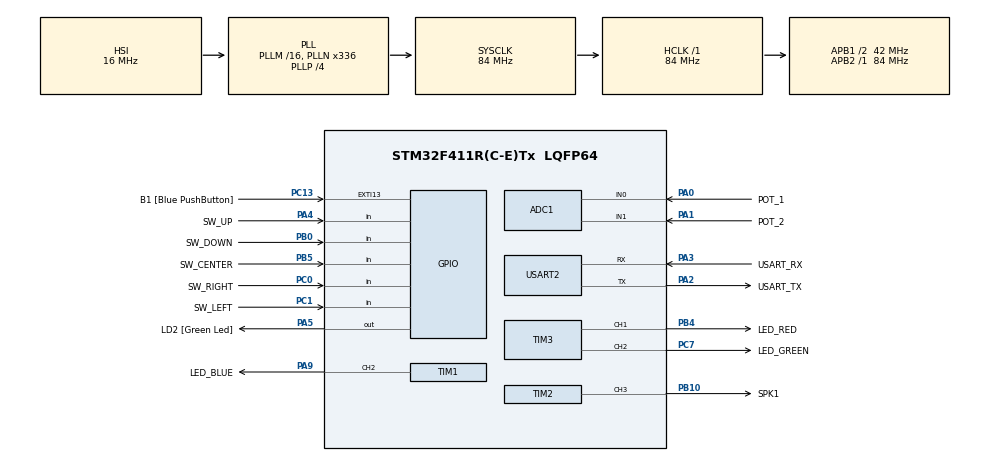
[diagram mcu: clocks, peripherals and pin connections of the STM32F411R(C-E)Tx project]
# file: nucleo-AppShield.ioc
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ADC1.Channel-0\#ChannelRegularConversion=ADC_CHANNEL_0
ADC1.NbrOfConversionFlag=1
ADC1.Rank-0\#ChannelRegularConversion=1
ADC1.SamplingTime-0\#ChannelRegularConversion=ADC_SAMPLETIME_3CYCLES
ADC1.master=1
Mcu.Family=STM32F4
Mcu.Name=STM32F411R(C-E)Tx
Mcu.Package=LQFP64
NVIC.PriorityGroup=NVIC_PRIORITYGROUP_0
PA0-WKUP.GPIO_Label=POT_1
PA0-WKUP.Signal=ADCx_IN0
PA1.GPIO_Label=POT_2
PA1.Signal=ADCx_IN1
PA13.GPIO_Label=TMS
PA13.Mode=Serial_Wire
PA13.Signal=SYS_JTMS-SWDIO
PA14.GPIO_Label=TCK
PA14.Mode=Serial_Wire
PA14.Signal=SYS_JTCK-SWCLK
PA2.GPIO_Label=USART_TX
PA2.Mode=Asynchronous
PA2.Signal=USART2_TX
PA3.GPIO_Label=USART_RX
PA3.Mode=Asynchronous
PA3.Signal=USART2_RX
PA4.GPIO_Label=SW_UP
PA4.Signal=GPIO_Input
PA5.GPIO_Label=LD2 [Green Led]
PA5.Signal=GPIO_Output
PA9.GPIO_Label=LED_BLUE
PA9.Signal=S_TIM1_CH2
PB0.GPIO_Label=SW_DOWN
PB0.Signal=GPIO_Input
PB10.GPIO_Label=SPK1
PB10.Signal=S_TIM2_CH3
PB3.GPIO_Label=SWO
PB3.Signal=SYS_JTDO-SWO
PB4.GPIO_Label=LED_RED
PB4.Signal=S_TIM3_CH1
PB5.GPIO_Label=SW_CENTER
PB5.Signal=GPIO_Input
PC0.GPIO_Label=SW_RIGHT
PC0.Signal=GPIO_Input
PC1.GPIO_Label=SW_LEFT
PC1.Signal=GPIO_Input
PC13-ANTI_TAMP.GPIO_Label=B1 [Blue PushButton]
PC13-ANTI_TAMP.GPIO_ModeDefaultEXTI=GPIO_MODE_IT_FALLING
PC13-ANTI_TAMP.Signal=GPXTI13
PC14-OSC32_IN.Mode=LSE-External-Oscillator
PC14-OSC32_IN.Signal=RCC_OSC32_IN
PC15-OSC32_OUT.Mode=LSE-External-Oscillator
PC15-OSC32_OUT.Signal=RCC_OSC32_OUT
PC7.GPIO_Label=LED_GREEN
PC7.Signal=S_TIM3_CH2
PH0\ -\ OSC_IN.Mode=HSE-External-Clock-Source
PH0\ -\ OSC_IN.Signal=RCC_OSC_IN
PH1\ -\ OSC_OUT.Mode=HSE-External-Clock-Source
PH1\ -\ OSC_OUT.Signal=RCC_OSC_OUT
ProjectManager.HeapSize=0x200
ProjectManager.StackSize=0x400
ProjectManager.TargetToolchain=STM32CubeIDE
RCC.48MHZClocksFreq_Value=84000000
RCC.AHBFreq_Value=84000000
RCC.APB1CLKDivider=RCC_HCLK_DIV2
RCC.APB1Freq_Value=42000000
RCC.APB1TimFreq_Value=84000000
RCC.APB2Freq_Value=84000000
RCC.APB2TimFreq_Value=84000000
RCC.CortexFreq_Value=84000000
RCC.FLatency-AdvancedSettings=FLASH_LATENCY_2
RCC.HCLKFreq_Value=84000000
RCC.HSE_VALUE=8000000
RCC.HSI_VALUE=16000000
RCC.PLLN=336
RCC.PLLP=RCC_PLLP_DIV4
RCC.SYSCLKFreq_VALUE=84000000
RCC.SYSCLKSource=RCC_SYSCLKSOURCE_PLLCLK
RCC.VCOOutputFreq_Value=336000000
SH.ADCx_IN0.0=ADC1_IN0,IN0
SH.ADCx_IN1.0=ADC1_IN1,IN1
SH.S_TIM1_CH2.0=TIM1_CH2,PWM Generation2 CH2
SH.S_TIM2_CH3.0=TIM2_CH3,PWM Generation3 CH3
SH.S_TIM3_CH1.0=TIM3_CH1,PWM Generation1 CH1
SH.S_TIM3_CH2.0=TIM3_CH2,PWM Generation2 CH2
TIM1.Channel-PWM\ Generation2\ CH2=TIM_CHANNEL_2
TIM2.Channel-PWM\ Generation3\ CH3=TIM_CHANNEL_3
TIM3.Channel-PWM\ Generation1\ CH1=TIM_CHANNEL_1
TIM3.Channel-PWM\ Generation2\ CH2=TIM_CHANNEL_2
USART2.VirtualMode=VM_ASYNC
board=NUCLEO-F411RE

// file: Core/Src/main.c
/* USER CODE BEGIN Header */
/**
  ******************************************************************************
  * @file           : main.c
  * @brief          : Main program body
  ******************************************************************************
  * @attention
  *
  * Copyright (c) 2025 STMicroelectronics.
  * All rights reserved.
  *
  * This software is licensed under terms that can be found in the LICENSE file
  * in the root directory of this software component.
  * If no LICENSE file comes with this software, it is provided AS-IS.
  *
  ******************************************************************************
  */
/* USER CODE END Header */
#include "main.h"
#include "adc.h"
#include "tim.h"
#include "usart.h"
#include "gpio.h"

/* USER CODE BEGIN Includes */
#include "leds.h"
#include "pot.h"
#include "sw.h"
#include "spk.h"
/* USER CODE END Includes */

/* USER CODE BEGIN PD */
#define MAIN4
#define ADC_MAX_VALUE 4095U
/* USER CODE END PD */

/* USER CODE BEGIN PV */
char buf[50];
/* USER CODE END PV */

void SystemClock_Config(void);

int main(void)
{

  /* MCU Configuration--------------------------------------------------------*/

  /* Reset of all peripherals, Initializes the Flash interface and the Systick. */
  HAL_Init();

  /* Configure the system clock */
  SystemClock_Config();

  /* Initialize all configured peripherals */
  MX_GPIO_Init();
  MX_USART2_UART_Init();
  MX_TIM1_Init();
  MX_TIM3_Init();
  MX_ADC1_Init();
  MX_TIM2_Init();
  /* USER CODE BEGIN 2 */
#ifdef MAIN1

  /* === LED MODULE FUNCTIONALITY TESTS === */

  /* Full off (0%) */
  leds (0);
  HAL_Delay (500);

  /* Low brightness (25%) */
  leds (25);
  HAL_Delay (500);

  /* Medium brightness (50%) */
  leds (50);
  HAL_Delay (500);

  /* High brightness (75%) */
  leds (75);
  HAL_Delay (500);

  /* Full on (100%) */
  leds (100);
  HAL_Delay (500);

  /* Test each color individually */
  red_led (100);
  green_led (0);
  blue_led (0);
  HAL_Delay (500);

  red_led (0);
  green_led (100);
  HAL_Delay (500);

  green_led (0);
  blue_led (100);
  HAL_Delay (500);

  /* Edge case: Negative brightness */
  leds (-20);
  HAL_Delay (500);

  /* Edge case: Brightness > 100 */
  leds (120);
  HAL_Delay (500);

  /* Interleaved transitions */
  for (int i = 0; i <= 100; i += 10)
    {
      leds (i);
      HAL_Delay (200);
    }

  for (int i = 100; i >= 0; i -= 10)
    {
      leds (i);
      HAL_Delay (200);
    }

#endif /* MAIN1 */

#ifdef MAIN2
  /* === SW  MODULE FUNCTIONALITY TESTS === */

#endif /* MAIN2 */

#ifdef MAIN3

/* === POT MODULE FUNCTIONALITY TESTS === */
  static uint32_t adc_raw_values[2] = {0};
  static uint32_t adc_scaled_value_1 = 0;
  static uint32_t adc_scaled_value_2 = 0;
#endif

#ifdef MAIN4

/* === SPK MODULE FUNCTIONALITY TESTS === */
  // Fréquences en Hz
  #define NOTE_RE 294
  #define NOTE_MI 330
  #define NOTE_FA 349
  #define NOTE_SOL 392
  #define NOTE_LA 440
  #define NOTE_SI 494
  #define NOTE_DO_H 523
  #define NOTE_PAUSE 0

  uint16_t melody[] = {
      NOTE_SOL, NOTE_SOL, NOTE_LA, NOTE_SOL, NOTE_DO_H, NOTE_SI,
      NOTE_SOL, NOTE_SOL, NOTE_LA, NOTE_SOL, NOTE_RE, NOTE_DO_H,
      NOTE_SOL, NOTE_SOL, NOTE_SOL, NOTE_DO_H, NOTE_DO_H, NOTE_SI,
      NOTE_LA, NOTE_FA, NOTE_SOL, NOTE_SOL, NOTE_LA, NOTE_SOL, NOTE_RE, NOTE_DO_H
  };

  uint16_t durations[] = {
      400, 400, 800, 800, 800, 1600,
      400, 400, 800, 800, 800, 1600,
      400, 400, 400, 800, 800, 1600,
      400, 400, 400, 400, 800, 800, 800, 1600
  };

  // Lecture de la mélodie
      for (int i = 0; i < sizeof(melody)/sizeof(melody[0]); i++) {
          if (melody[i] == NOTE_PAUSE) {
              speaker_off();
          } else {
              speaker_tone(melody[i]);
          }

          HAL_Delay(durations[i]);
          speaker_off();
          HAL_Delay(50);  // courte pause entre les notes
      }

#endif
  /* USER CODE END 2 */

  /* Infinite loop */
  /* USER CODE BEGIN WHILE */
  while (1)
  {
#ifdef MAIN2

	/* === SW  MODULE FUNCTIONALITY TESTS === */
	if (sw_up()) {
		// Rouge vif (255, 0, 0)
		leds_rgb(255, 0, 0);
	}
	else if (sw_right()) {
		// Vert lime (50, 205, 50)
		leds_rgb(50, 205, 50);
	}
	else if (sw_left()) {
		// Bleu ciel (135, 206, 235)
		leds_rgb(135, 206, 235);
	}
	else if (sw_down()) {
		// Orange (255, 165, 0)
		leds_rgb(255, 165, 0);
	}
	else if (sw_center()) {
		// Violet moyen (148, 0, 211)
		leds_rgb(148, 0, 211);
	}
	else {
		// Aucun bouton appuyé, éteindre LEDs
		leds_rgb(0, 0, 0);
	}

#endif /* MAIN2 */
#ifdef MAIN3
    // Acquire raw ADC values from both potentiometers simultaneously
    pots(adc_raw_values);

    // Scale ADC values to percentage (0 - 100%)
    adc_scaled_value_1 = (adc_raw_values[0] * 100U) / ADC_MAX_VALUE;
    green_led(adc_scaled_value_1);

    adc_scaled_value_2 = (adc_raw_values[1] * 100U) / ADC_MAX_VALUE;
    red_led(adc_scaled_value_2);
#endif
    /* USER CODE END WHILE */

  }
}

void SystemClock_Config(void)
{
  RCC_OscInitTypeDef RCC_OscInitStruct = {0};
  RCC_ClkInitTypeDef RCC_ClkInitStruct = {0};

  /** Configure the main internal regulator output voltage
  */
  __HAL_RCC_PWR_CLK_ENABLE();
  __HAL_PWR_VOLTAGESCALING_CONFIG(PWR_REGULATOR_VOLTAGE_SCALE1);

  /** Initializes the RCC Oscillators according to the specified parameters
  * in the RCC_OscInitTypeDef structure.
  */
  RCC_OscInitStruct.OscillatorType = RCC_OSCILLATORTYPE_HSI;
  RCC_OscInitStruct.HSIState = RCC_HSI_ON;
  RCC_OscInitStruct.HSICalibrationValue = RCC_HSICALIBRATION_DEFAULT;
  RCC_OscInitStruct.PLL.PLLState = RCC_PLL_ON;
  RCC_OscInitStruct.PLL.PLLSource = RCC_PLLSOURCE_HSI;
  RCC_OscInitStruct.PLL.PLLM = 16;
  RCC_OscInitStruct.PLL.PLLN = 336;
  RCC_OscInitStruct.PLL.PLLP = RCC_PLLP_DIV4;
  RCC_OscInitStruct.PLL.PLLQ = 4;
  if (HAL_RCC_OscConfig(&RCC_OscInitStruct) != HAL_OK)
  {
    Error_Handler();
  }

  /** Initializes the CPU, AHB and APB buses clocks
  */
  RCC_ClkInitStruct.ClockType = RCC_CLOCKTYPE_HCLK|RCC_CLOCKTYPE_SYSCLK
                              |RCC_CLOCKTYPE_PCLK1|RCC_CLOCKTYPE_PCLK2;
  RCC_ClkInitStruct.SYSCLKSource = RCC_SYSCLKSOURCE_PLLCLK;
  RCC_ClkInitStruct.AHBCLKDivider = RCC_SYSCLK_DIV1;
  RCC_ClkInitStruct.APB1CLKDivider = RCC_HCLK_DIV2;
  RCC_ClkInitStruct.APB2CLKDivider = RCC_HCLK_DIV1;

  if (HAL_RCC_ClockConfig(&RCC_ClkInitStruct, FLASH_LATENCY_2) != HAL_OK)
  {
    Error_Handler();
  }
}

void Error_Handler(void)
{
  __disable_irq();
  while (1)
  {
  }
}
